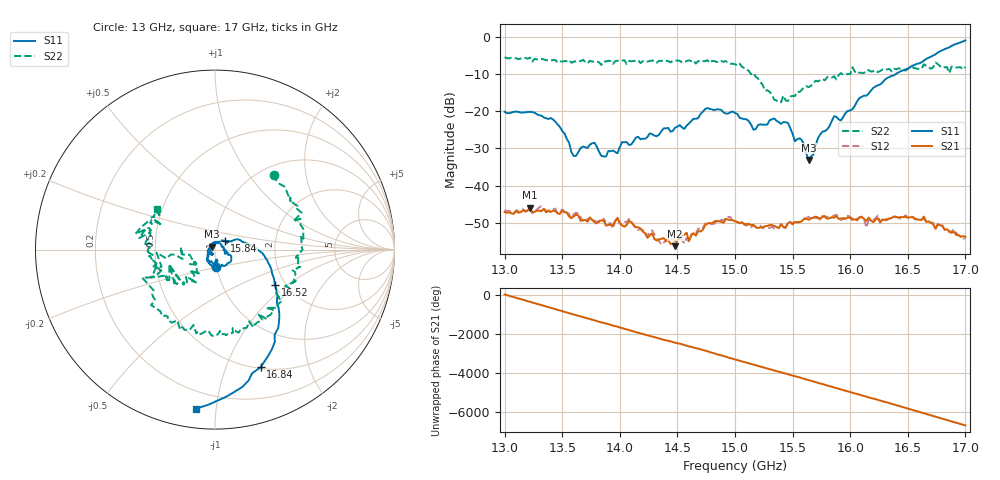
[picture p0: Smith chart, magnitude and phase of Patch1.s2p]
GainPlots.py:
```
import numpy as np
import matplotlib.pyplot as plt
import skrf as rf
from PlotStandard.PlotStandard import Plot


def findG(Ghorn, S12, f, r):


    wavelength = 3e8 / f

    G = ((4*np.pi*r)**2)/((wavelength**2)*Ghorn) * (abs(S12)**2)

    G_dB = 10*np.log10(abs(G))

    return G_dB

def getGHorn():

    S = rf.Network('DataHorn/direction0-1.29v2.s2p')
    f = S.frequency.f.squeeze()
    S12 = S.s12.s.squeeze()
    wavelength = 3e8 / f
    r = 1.29

    Ghorn = (abs(S12)*4*np.pi*r)/(wavelength)

    return f, Ghorn

if __name__ == '__main__':
    X = "Frequency (GHz)"
    Y = "Gain (dB)"
    r = 1.17

    f_horn, G_horn = getGHorn()
    #G horn had twice the number of samples. (401)
    G_horn = G_horn[::2]

    #plot the horn gain
    #Plot(f_horn,10*np.log10(G_horn),"","","Horn antenna gain")

    #Get the frequency for the patch antenna measurements.
    f = rf.Network('DataPatchArrays/Patch1.s2p').frequency.f.squeeze()


    #Get the linear S parameter measurements
    S12_Patch1 = rf.Network('DataPatchArrays/Patch1.s2p').s12.s.squeeze()

    #Get the gain of the patch
    G_Patch1 = findG(G_horn, S12_Patch1, f, r)

    #Plot the G of the patch
    Plot(f / 1e9, G_Patch1, X, Y, "Gain of a 1-element Array", Filename="Patch1", SaveFile=True)




    # S12_Patch2 = rf.Network('Data/Patch2.s2p').s12.s.squeeze()
    # Plot(f / 1e9, findG(Ghorn,S12_Patch2, f, r), X, Y, "Gain of a 2-element Array", Filename="Patch2", SaveFile=True)

    # S12_Patch4 = rf.Network('Data/Patch4.s2p').s12.s.squeeze()
    # Plot(f / 1e9, findG(Ghorn,S12_Patch4, f, r), X, Y, "Gain of a 4-element Array", Filename="Patch4", SaveFile=True)

    # S12_Patch8_A = rf.Network('Data/Patch8_A.s2p').s12.s.squeeze()
    # Plot(f / 1e9, findG(Ghorn,S12_Patch8_A , f, r), X, Y, "Gain of 8-element Array A", Filename="Patch8_A", SaveFile=True)

    # S12_Patch8_B = rf.Network('Data/Patch8_B.s2p').s12.s.squeeze()
    # Plot(f / 1e9, findG(Ghorn,S12_Patch8_B, f, r), X, Y, "Gain of 8-element Array B", Filename="Patch8_B", SaveFile=True)

    # S12_Patch8_C = rf.Network('Data/Patch8_C.s2p').s12.s.squeeze()
    # Plot(f / 1e9, findG(Ghorn,S12_Patch8_C, f, r), X, Y, "Gain of 8-element Array C", Filename="Patch8_C", SaveFile=True)

    # S12_Patch8_D = rf.Network('Data/Patch8_D.s2p').s12.s.squeeze()
    # Plot(f / 1e9, findG(Ghorn,S12_Patch8_D, f, r), X, Y, "Gain of 8-element Array D", Filename="Patch8_D", SaveFile=True)
    # Plot(f / 1e9, S12_Patch8_D, "Frequency (GHz)", "S12 dB", "S12 patch8D parameter versus frequency")
    # Plot(f / 1e9, S12_Patch2  , "Frequency (GHz)", "S12 dB", "S12 patch2 parameter versus frequency")
    # Plot(f/1e9, 20*np.log10(abs(S12_Patch1)), "Frequency (GHz)", "S12 dB", "S12 parameter versus frequency")
```
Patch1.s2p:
!Keysight Technologies,P9374A,MY57211810,A.19.30.04
!Date: Friday, May 09, 2025 08:53:15
!Correction: S11(Cdelta 2-Port  )
!S21(Cdelta 2-Port  )
!S12(Cdelta 2-Port  )
!S22(Cdelta 2-Port  )
!S2P File: Measurements: S11, S21, S12, S22:
# Hz S  dB  R 50
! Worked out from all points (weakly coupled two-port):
!   201 points, 13 GHz to 17 GHz, reference 50 ohm
!   highest |S21| = -45.94 dB at 13.22 GHz (marker M1); lowest = -56.3 dB at 14.48 GHz (marker M2)
!   lowest |S11| = -33.1 dB at 15.64 GHz (marker M3), VSWR 1.05, Z = 48.5 + j1.55 ohm
!   |S11| at or under -10 dB: start of sweep to 16.4 GHz
!   |S22| runs from -17.7 to -5.5 dB; largest |S21 - S12| = 0.00075
!   S11 on the Smith chart (normalised r, x): 13 GHz: 0.99, -0.20; 15.84 GHz: 1.11, +0.11; 16.52 GHz: 1.76, -0.82; 16.84 GHz: 0.51, -1.33; 17 GHz: 0.10, -0.88
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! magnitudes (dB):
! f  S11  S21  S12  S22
! 13 GHz  -20.2  -47.1  -46.6  -5.5
! 13.22 GHz  -20.2  -45.9  -46.1  -5.6
! 13.6 GHz  -32.0  -48.3  -47.7  -6.7
! 14.48 GHz  -24.4  -56.3  -55.0  -6.5
! 15 GHz  -20.5  -49.6  -49.4  -7.4
! 15.38 GHz  -22.9  -51.4  -51.4  -17.7
! 15.64 GHz  -33.1  -49.2  -48.4  -13.5
! 15.84 GHz  -22.7  -48.6  -48.4  -11.0
! 16.52 GHz  -8.2  -48.5  -48.4  -8.2
! 16.84 GHz  -3.1  -51.8  -51.7  -8.2
! 17 GHz  -1.0  -53.8  -54.3  -8.1
